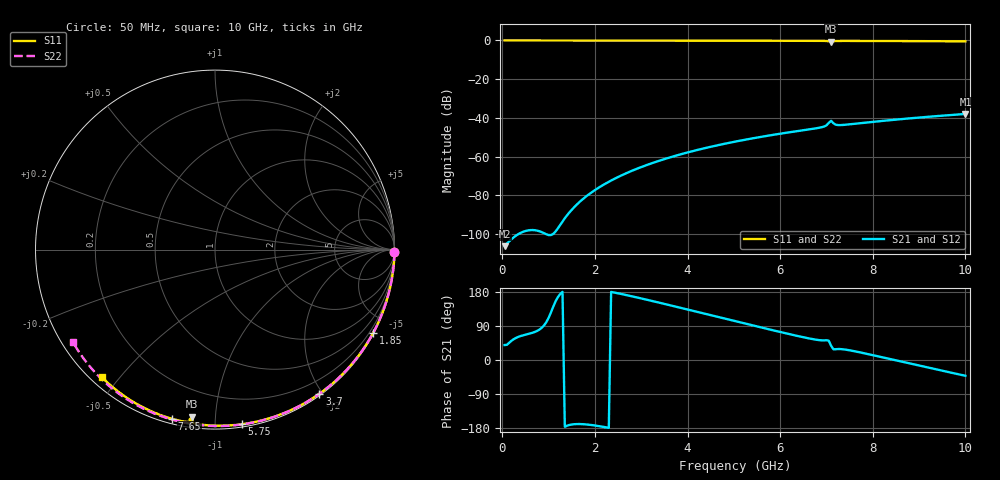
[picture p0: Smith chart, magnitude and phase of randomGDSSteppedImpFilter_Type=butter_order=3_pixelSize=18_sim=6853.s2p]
! freq	dB(S11)	phase(S11)	dB(S12)	phase(S12)
!  dB(S21)	phase(S21)	dB(S22)	phase(S22)
!S-par simulation data
#  GHz  S  DB  R 50
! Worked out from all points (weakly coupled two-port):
!   200 points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, 50 MHz to 10 GHz, reference 50 ohm
!   highest |S21| = -37.94 dB at 10 GHz (marker M1); lowest = -106.2 dB at 50 MHz (marker M2)
!   lowest |S11| = -0.5 dB at 7.1 GHz (marker M3), VSWR 32.25, Z = 2.73 - j43.6 ohm
!   |S11| at or under -10 dB: nowhere
!   |S22| runs from -0.5 to 0.0 dB; largest |S21 - S12| = 0
!   S11 on the Smith chart (normalised r, x): 50 MHz: open; 1.85 GHz: 0.04, -4.06; 3.7 GHz: 0.02, -1.96; 5.75 GHz: 0.02, -1.16; 7.65 GHz: 0.02, -0.78; 10 GHz: 0.03, -0.45
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0.05  -0.00 -0.8  -106.19 39.4  -106.19 39.4  -0.00 -0.9
0.9  -0.02 -13.6  -99.47 91.1  -99.47 91.1  -0.02 -15.3
1.75  -0.03 -26.2  -81.67 -169.4  -81.67 -169.4  -0.04 -29.4
1.85  -0.04 -27.7  -79.78 -170.5  -79.78 -170.5  -0.04 -31.1
2.15  -0.04 -32.1  -74.98 -175.8  -74.98 -175.8  -0.05 -36.0
2.5  -0.05 -37.1  -70.49 176.0  -70.49 176.0  -0.05 -41.7
2.9  -0.06 -42.9  -66.29 165.3  -66.29 165.3  -0.06 -48.1
3.4  -0.07 -49.9  -62.00 151.0  -62.00 151.0  -0.07 -55.9
3.7  -0.07 -54.1  -59.80 142.2  -59.80 142.2  -0.08 -60.5
4.35  -0.09 -63.0  -55.72 122.8  -55.72 122.8  -0.10 -70.4
5.05  -0.11 -72.3  -52.12 101.9  -52.12 101.9  -0.12 -80.7
5.75  -0.14 -81.3  -49.10 81.2  -49.10 81.2  -0.15 -90.7
6.7  -0.18 -93.4  -45.63 55.1  -45.63 55.1  -0.20 -103.8
6.95  -0.23 -96.8  -44.42 51.8  -44.42 51.8  -0.22 -107.2
7  -0.27 -97.7  -43.82 52.1  -43.82 52.1  -0.22 -107.8
7.1  -0.54 -97.8  -41.46 37.6  -41.46 37.6  -0.23 -109.2
7.2  -0.28 -98.3  -43.48 28.4  -43.48 28.4  -0.23 -110.5
7.25  -0.25 -99.1  -43.67 28.9  -43.67 28.9  -0.24 -111.2
7.65  -0.24 -104.3  -42.91 22.0  -42.91 22.0  -0.26 -116.5
8.35  -0.29 -112.6  -41.20 3.2  -41.20 3.2  -0.32 -125.6
9.2  -0.36 -122.4  -39.39 -20.2  -39.39 -20.2  -0.41 -136.7
10  -0.44 -131.5  -37.94 -41.6  -37.94 -41.6  -0.50 -147.0
